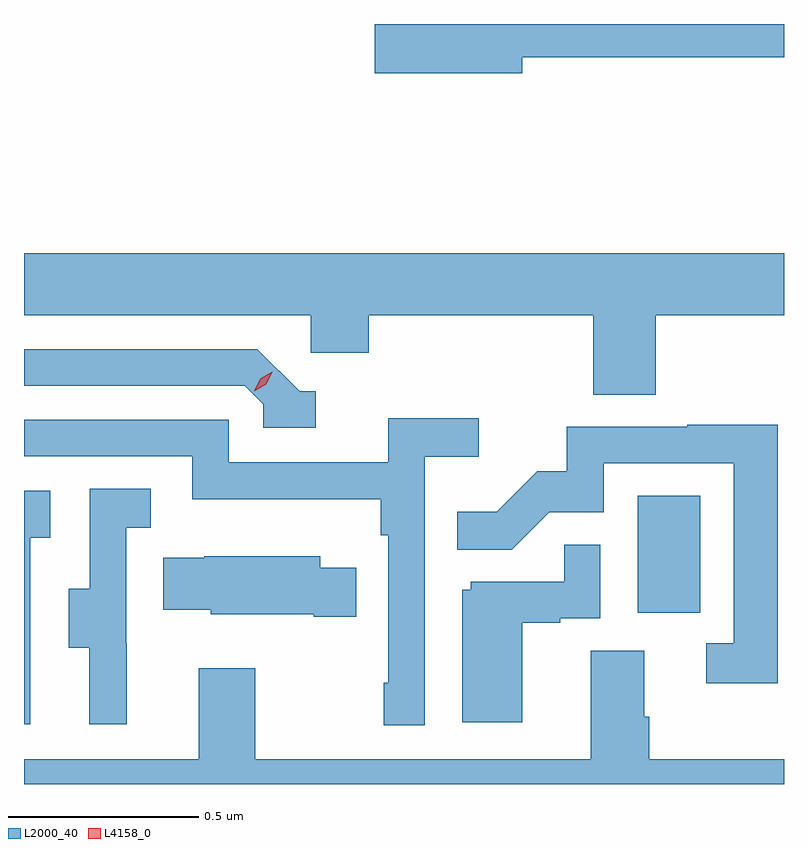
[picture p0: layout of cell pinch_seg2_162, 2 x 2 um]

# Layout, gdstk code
import gdstk
lib = gdstk.Library(unit=1e-6, precision=1e-09)
def R(c, l, rs):  # rectangles x0, y0, x1, y1
    for r in rs: c.add(gdstk.rectangle(r[:2], r[2:], *l))
def P(c, l, *ps):  # polygons
    for p in ps: c.add(gdstk.Polygon(p, *l))
L2000_40 = (2000, 40)
L4158_0 = (4158, 0)

pinch_seg2_162 = lib.new_cell('pinch_seg2_162')
R(pinch_seg2_162, L2000_40, [(1121.072,638.862,1121.236,639.169)])
P(pinch_seg2_162, L2000_40, [(1120.768,640.324),(1121.457,640.324),(1121.457,640.411),(1120.38,640.411),(1120.38,640.282),(1120.768,640.282)],
  [(1119.457,639.644),(1120.212,639.644),(1120.212,639.546),(1120.364,639.546),(1120.364,639.644),(1120.955,639.644),(1120.955,639.436),(1121.12,639.436),(1121.12,639.644),(1121.457,639.644),(1121.457,639.808),(1119.457,639.808)],
  [(1120.225,639.444),(1120.182,639.444),(1120.071,639.555),(1119.457,639.555),(1119.457,639.459),(1120.038,639.459),(1120.086,639.411),(1120.086,639.348),(1120.225,639.348)],
  [(1120.512,639.272),(1120.654,639.272),(1120.654,639.374),(1120.415,639.374),(1120.415,639.258),(1119.996,639.258),(1119.996,639.369),(1119.457,639.369),(1119.457,639.273),(1119.9,639.273),(1119.9,639.161),(1120.396,639.161),(1120.396,639.065),(1120.416,639.065),(1120.416,638.677),(1120.404,638.677),(1120.404,638.565),(1120.512,638.565)],
  [(1121.441,639.356),(1121.203,639.356),(1121.203,639.351),(1120.885,639.351),(1120.885,639.234),(1120.808,639.234),(1120.701,639.127),(1120.597,639.127),(1120.597,639.028),(1120.741,639.028),(1120.839,639.126),(1120.983,639.126),(1120.983,639.255),(1121.325,639.255),(1121.325,638.781),(1121.253,638.781),(1121.253,638.676),(1121.441,638.676)],
  [(1119.728,638.781),(1119.726,638.781),(1119.726,639.085),(1119.79,639.085),(1119.79,639.188),(1119.63,639.188),(1119.63,638.925),(1119.575,638.925),(1119.575,638.77),(1119.629,638.77),(1119.629,638.568),(1119.728,638.568)],
  [(1119.474,639.059),(1119.526,639.059),(1119.526,639.183),(1119.457,639.183),(1119.457,638.568),(1119.474,638.568)],
  [(1120.768,638.835),(1120.868,638.835),(1120.868,638.847),(1120.974,638.847),(1120.974,639.041),(1120.879,639.041),(1120.879,638.943),(1120.632,638.943),(1120.632,638.922),(1120.61,638.922),(1120.61,638.574),(1120.768,638.574)],
  [(1120.331,638.98),(1120.237,638.98),(1120.237,639.01),(1119.931,639.01),(1119.931,639.007),(1119.823,639.007),(1119.823,638.87),(1119.948,638.87),(1119.948,638.858),(1120.22,638.858),(1120.22,638.851),(1120.331,638.851)],
  [(1121.457,638.476),(1121.102,638.476),(1121.102,638.588),(1121.089,638.588),(1121.089,638.762),(1120.949,638.762),(1120.949,638.476),(1120.065,638.476),(1120.065,638.716),(1119.917,638.716),(1119.917,638.476),(1119.457,638.476),(1119.457,638.411),(1121.457,638.411)])
P(pinch_seg2_162, L4158_0, [(1120.063,639.445),(1120.063,639.445),(1120.079,639.477),(1120.11,639.496),(1120.11,639.496),(1120.11,639.495),(1120.094,639.463),(1120.063,639.445)])

lib.write_gds('pinch_seg2_162.gds')
